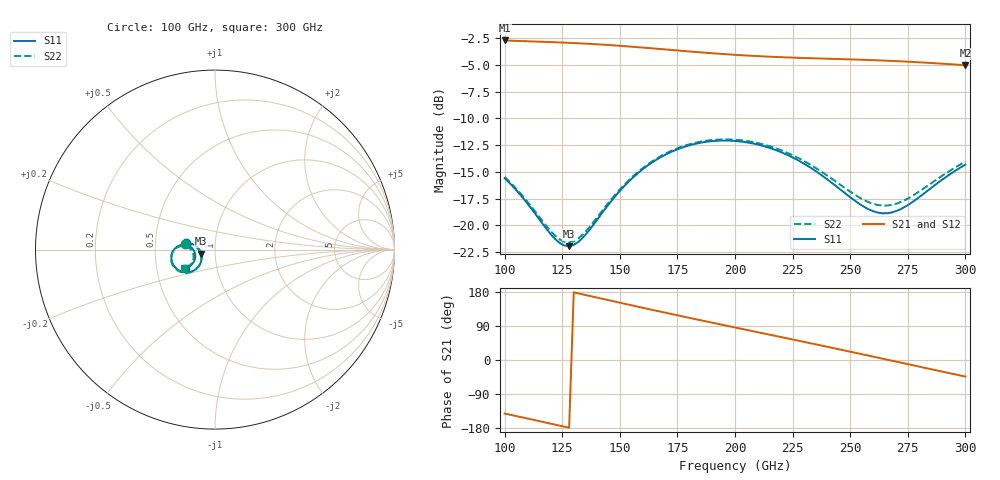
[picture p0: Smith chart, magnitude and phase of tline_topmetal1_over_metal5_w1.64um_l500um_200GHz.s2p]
#  GHZ S DB R 50
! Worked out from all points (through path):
!   101 points, 100 GHz to 300 GHz, reference 50 ohm
!   highest |S21| = -2.70 dB at 100 GHz (marker M1); lowest = -5.0 dB at 300 GHz (marker M2)
!   group delay of S21, straight-line fit = 3.63 ps
!   lowest |S11| = -22.0 dB at 128 GHz (marker M3), VSWR 1.17, Z = 42.9 - j1.98 ohm
!   |S11| at or under -10 dB: start of sweep to end of sweep
!   |S22| runs from -21.6 to -12.0 dB; largest |S21 - S12| = 1e-14
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100  -15.59 168.2  -2.70 -141.3  -2.70 -141.3  -15.48 169.5
114  -19.14 168.6  -2.80 -159.9  -2.80 -159.9  -18.93 170.2
122  -21.31 -179.4  -2.87 -170.7  -2.87 -170.7  -20.99 -178.0
128  -21.96 -163.3  -2.92 -178.8  -2.92 -178.8  -21.61 -162.6
134  -21.16 -147.6  -2.98 173.0  -2.98 173.0  -20.86 -147.6
142  -18.94 -136.2  -3.08 162.1  -3.08 162.1  -18.75 -136.4
150  -16.79 -134.0  -3.20 151.3  -3.20 151.3  -16.65 -134.0
158  -15.10 -136.6  -3.33 140.5  -3.33 140.5  -14.99 -136.3
168  -13.60 -142.8  -3.51 127.2  -3.51 127.2  -13.50 -142.2
176  -12.81 -148.9  -3.65 116.7  -3.65 116.7  -12.71 -148.1
184  -12.32 -155.4  -3.79 106.3  -3.79 106.3  -12.22 -154.3
192  -12.10 -161.9  -3.92 96.0  -3.92 96.0  -11.99 -160.7
200  -12.11 -168.3  -4.04 85.8  -4.04 85.8  -11.99 -166.9
216  -12.83 -179.9  -4.23 65.6  -4.23 65.6  -12.67 -178.0
234  -14.78 171.5  -4.37 42.6  -4.37 42.6  -14.50 174.0
246  -16.70 172.0  -4.44 27.1  -4.44 27.1  -16.26 174.7
256  -18.28 179.6  -4.51 14.1  -4.51 14.1  -17.64 -178.3
262  -18.82 -172.4  -4.56 6.2  -4.56 6.2  -18.11 -171.2
268  -18.81 -163.4  -4.61 -1.7  -4.61 -1.7  -18.10 -163.3
274  -18.25 -155.5  -4.67 -9.6  -4.67 -9.6  -17.62 -156.3
284  -16.70 -148.1  -4.79 -22.8  -4.79 -22.8  -16.25 -149.3
300  -14.33 -148.4  -5.02 -43.7  -5.02 -43.7  -14.06 -149.3
